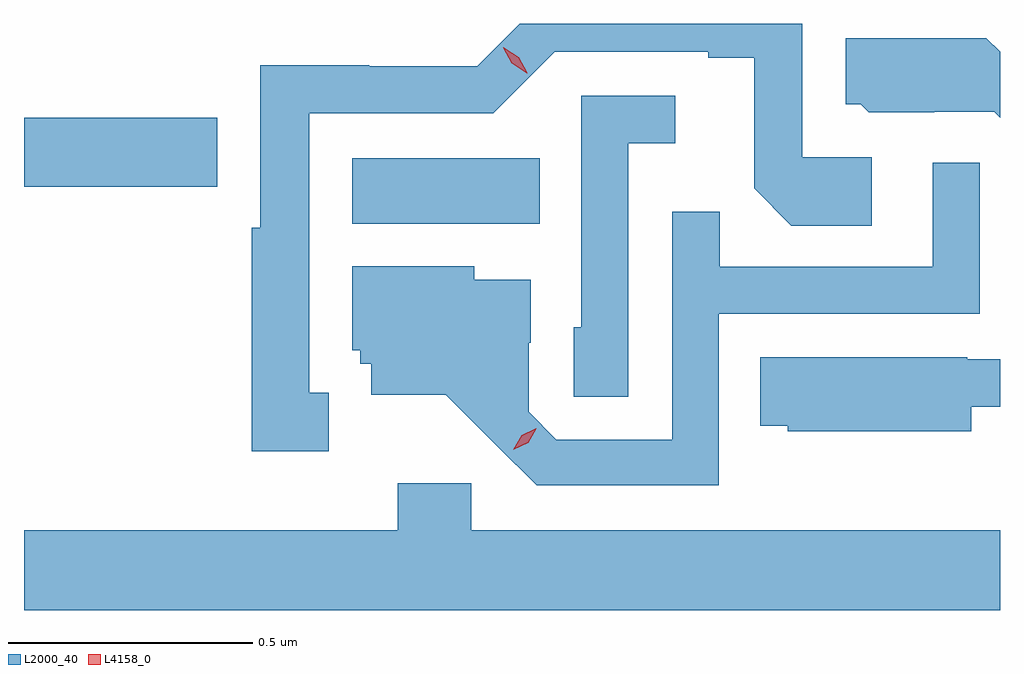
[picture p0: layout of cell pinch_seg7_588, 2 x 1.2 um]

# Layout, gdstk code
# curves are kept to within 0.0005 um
import gdstk
lib = gdstk.Library(unit=1e-6, precision=1e-09)
def R(c, l, rs):  # rectangles x0, y0, x1, y1
    for r in rs: c.add(gdstk.rectangle(r[:2], r[2:], *l))
def P(c, l, *ps):  # polygons
    for p in ps: c.add(gdstk.Polygon(p, *l))
L2000_40 = (2000, 40)
L4158_0 = (4158, 0)

pinch_seg7_588 = lib.new_cell('pinch_seg7_588')
R(pinch_seg7_588, L2000_40, [(155.354,1042.7,155.738,1042.834), (154.681,1042.775,155.077,1042.917)])
P(pinch_seg7_588, L2000_40, [(155.305,1042.353),(155.266,1042.353),(155.266,1042.926),(155.643,1042.926),(155.769,1043.052),(156.083,1043.052),(156.083,1043.04),(156.177,1043.04),(156.177,1042.772),(156.253,1042.696),(156.418,1042.696),(156.418,1042.836),(156.276,1042.836),(156.276,1043.109),(155.697,1043.109),(155.61,1043.022),(155.388,1043.022),(155.388,1043.024),(155.165,1043.024),(155.165,1042.691),(155.148,1042.691),(155.148,1042.233),(155.305,1042.233)],
  [(156.681,1043.052),(156.653,1043.08),(156.365,1043.08),(156.365,1042.944),(156.396,1042.944),(156.412,1042.928),(156.546,1042.928),(156.546,1042.929),(156.669,1042.929),(156.681,1042.917)],
  [(155.919,1042.865),(156.016,1042.865),(156.016,1042.962),(155.823,1042.962),(155.823,1042.488),(155.808,1042.488),(155.808,1042.345),(155.919,1042.345)],
  [(156.105,1042.515),(156.639,1042.515),(156.639,1042.825),(156.543,1042.825),(156.543,1042.611),(156.107,1042.611),(156.107,1042.724),(156.009,1042.724),(156.009,1042.257),(155.772,1042.257),(155.715,1042.314),(155.715,1042.456),(155.719,1042.456),(155.719,1042.585),(155.604,1042.585),(155.604,1042.612),(155.354,1042.612),(155.354,1042.44),(155.37,1042.44),(155.37,1042.413),(155.393,1042.413),(155.393,1042.349),(155.545,1042.349),(155.732,1042.164),(156.105,1042.164)],
  [(156.622,1042.325),(156.681,1042.325),(156.681,1042.422),(156.614,1042.422),(156.614,1042.426),(156.19,1042.426),(156.19,1042.286),(156.246,1042.286),(156.246,1042.274),(156.622,1042.274)],
  [(156.681,1042.072),(155.598,1042.072),(155.598,1042.168),(155.447,1042.168),(155.447,1042.072),(154.681,1042.072),(154.681,1041.908),(156.681,1041.908)])
P(pinch_seg7_588, L4158_0, [(155.684,1042.236),(155.684,1042.236),(155.701,1042.266),(155.731,1042.281),(155.731,1042.281),(155.731,1042.28),(155.714,1042.251),(155.684,1042.236)],
  [(155.711,1043.008),(155.68,1043.028),(155.663,1043.06),(155.663,1043.061),(155.663,1043.061),(155.695,1043.041),(155.712,1043.009),(155.712,1043.008)])

lib.write_gds('pinch_seg7_588.gds')
